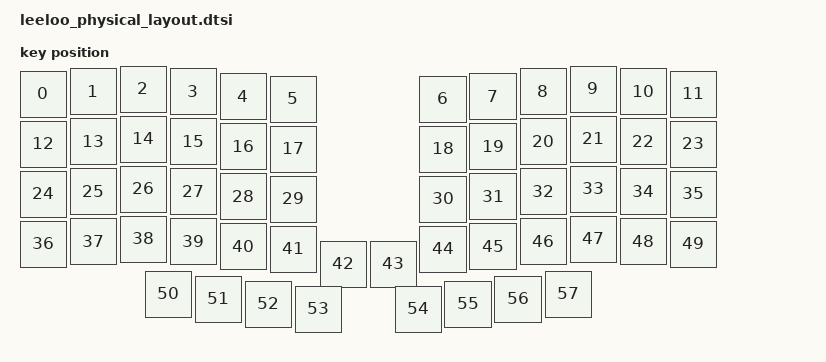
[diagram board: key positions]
/*
 * Copyright (c) 2024 The ZMK Contributors
 * SPDX-License-Identifier: MIT
 */

#include <physical_layouts.dtsi>

/ {
    leeloo_physical_layout: leeloo_physical_layout {
        compatible = "zmk,physical-layout";
        display-name = "Default Layout";
        transform = <&default_transform>;
        kscan = <&kscan0>;

        keys
            /* Row 0 */
            = <&key_physical_attrs 100 100 0 10 0 0 0> /* SW1 L */
            , <&key_physical_attrs 100 100 100 5 0 0 0> /* SW2 L */
            , <&key_physical_attrs 100 100 200 0 0 0 0> /* SW3 L */
            , <&key_physical_attrs 100 100 300 5 0 0 0> /* SW4 L */
            , <&key_physical_attrs 100 100 400 15 0 0 0> /* SW5 L */
            , <&key_physical_attrs 100 100 500 20 0 0 0> /* SW6 L */

            , <&key_physical_attrs 100 100 800 20 0 0 0> /* SW6 R */
            , <&key_physical_attrs 100 100 900 15 0 0 0> /* SW5 R */
            , <&key_physical_attrs 100 100 1000 5 0 0 0> /* SW4 R */
            , <&key_physical_attrs 100 100 1100 0 0 0 0> /* SW3 R */
            , <&key_physical_attrs 100 100 1200 5 0 0 0> /* SW2 R */
            , <&key_physical_attrs 100 100 1300 10 0 0 0> /* SW1 R */

            /* Row 1 */
            , <&key_physical_attrs 100 100 0 110 0 0 0>
            , <&key_physical_attrs 100 100 100 105 0 0 0>
            , <&key_physical_attrs 100 100 200 100 0 0 0>
            , <&key_physical_attrs 100 100 300 105 0 0 0>
            , <&key_physical_attrs 100 100 400 115 0 0 0>
            , <&key_physical_attrs 100 100 500 120 0 0 0>

            , <&key_physical_attrs 100 100 800 120 0 0 0>
            , <&key_physical_attrs 100 100 900 115 0 0 0>
            , <&key_physical_attrs 100 100 1000 105 0 0 0>
            , <&key_physical_attrs 100 100 1100 100 0 0 0>
            , <&key_physical_attrs 100 100 1200 105 0 0 0>
            , <&key_physical_attrs 100 100 1300 110 0 0 0>

            /* Row 2 */
            , <&key_physical_attrs 100 100 0 210 0 0 0>
            , <&key_physical_attrs 100 100 100 205 0 0 0>
            , <&key_physical_attrs 100 100 200 200 0 0 0>
            , <&key_physical_attrs 100 100 300 205 0 0 0>
            , <&key_physical_attrs 100 100 400 215 0 0 0>
            , <&key_physical_attrs 100 100 500 220 0 0 0>

            , <&key_physical_attrs 100 100 800 220 0 0 0>
            , <&key_physical_attrs 100 100 900 215 0 0 0>
            , <&key_physical_attrs 100 100 1000 205 0 0 0>
            , <&key_physical_attrs 100 100 1100 200 0 0 0>
            , <&key_physical_attrs 100 100 1200 205 0 0 0>
            , <&key_physical_attrs 100 100 1300 210 0 0 0>

            /* Row 3 */
            , <&key_physical_attrs 100 100 0 310 0 0 0>
            , <&key_physical_attrs 100 100 100 305 0 0 0>
            , <&key_physical_attrs 100 100 200 300 0 0 0>
            , <&key_physical_attrs 100 100 300 305 0 0 0>
            , <&key_physical_attrs 100 100 400 315 0 0 0>
            , <&key_physical_attrs 100 100 500 320 0 0 0>
            , <&key_physical_attrs 100 100 600 350 0 0 0> /* SW29 L */

            , <&key_physical_attrs 100 100 700 350 0 0 0> /* SW29 R */
            , <&key_physical_attrs 100 100 800 320 0 0 0>
            , <&key_physical_attrs 100 100 900 315 0 0 0>
            , <&key_physical_attrs 100 100 1000 305 0 0 0>
            , <&key_physical_attrs 100 100 1100 300 0 0 0>
            , <&key_physical_attrs 100 100 1200 305 0 0 0>
            , <&key_physical_attrs 100 100 1300 310 0 0 0>

            /* Row 4 (Thumb) */
            , <&key_physical_attrs 100 100 250 410 0 0 0> /* SW25 L */
            , <&key_physical_attrs 100 100 350 420 0 0 0> /* SW26 L */
            , <&key_physical_attrs 100 100 450 430 0 0 0> /* SW27 L */
            , <&key_physical_attrs 100 100 550 440 0 0 0> /* SW28 L */

            , <&key_physical_attrs 100 100 750 440 0 0 0> /* SW28 R */
            , <&key_physical_attrs 100 100 850 430 0 0 0> /* SW27 R */
            , <&key_physical_attrs 100 100 950 420 0 0 0> /* SW26 R */
            , <&key_physical_attrs 100 100 1050 410 0 0 0> /* SW25 R */
            ;
    };
};
